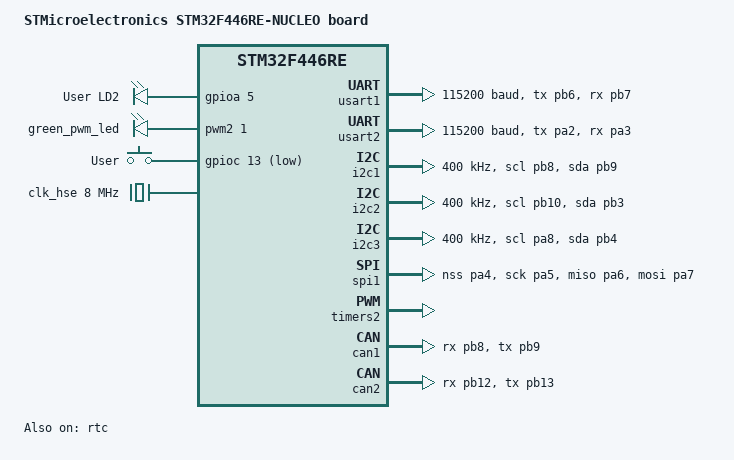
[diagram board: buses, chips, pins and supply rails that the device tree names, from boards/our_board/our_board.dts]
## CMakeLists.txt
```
cmake_minimum_required(VERSION 3.20.0)

list(APPEND BOARD_ROOT ${CMAKE_CURRENT_SOURCE_DIR})     #Added by gopi, for using the custom board (our_board).   
find_package(Zephyr REQUIRED)

project(my_zephyr_app)

target_sources(app PRIVATE src/main.cpp)


add_subdirectory(boards/my_own_board)       #to add the board_init to the app
```

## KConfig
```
config BLINK_SLEEP_TIME_MS
    int "Led Prompt"
    default 1000
    range 100 5000
    help
        help This is to change the Delay of the LED in the Kconfig
        It will be useful for the operation

source "Kconfig.zephyr"
```

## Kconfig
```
menuconfig LED_SUBSYSTEM
    bool "LED Subsystem"
    default y
    help
      Enable the LED subsystem.

if LED_SUBSYSTEM

choice LED_BLINK_SLEEP_TIME
    prompt "LED blink sleep time"
    default LED_BLINK_1S

config LED_BLINK_250MS
    bool "250ms"

config LED_BLINK_500MS
    bool "500ms"

config LED_BLINK_1S
    bool "1s"

config LED_BLINK_2S
    bool "2s"

endchoice

config LED_BLINK_SLEEP_TIME_MS
    int
    default 250 if LED_BLINK_250MS
    default 500 if LED_BLINK_500MS
    default 1000 if LED_BLINK_1S
    default 2000 if LED_BLINK_2S

menuconfig LED_ADVANCED
    bool "Advanced LED settings"
    default n

if LED_ADVANCED

config LED_BRIGHTNESS
    int "LED brightness (0-100)"
    default 100
    range 0 100

config LED_FADE_DURATION
    int "LED fade duration (ms)"
    default 500
    range 0 5000

menu "Expert settings"

visible if LED_ADVANCED

config LED_DEBUG
    bool "Enable LED debugging"

config LED_CUSTOM_PATTERN
    bool "Custom blink pattern"

endmenu

endif

endif

#for lecture 4 task 1
config APP_HEARTBEAT_PERIOD_MS
    int "Heartbeat LED period (ms)"
    default 500
    range 100 2000
    help
      Delay in milliseconds between LED state changes.



source "Kconfig.zephyr"
```

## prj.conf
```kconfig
CONFIG_GPIO=y
CONFIG_LOG=y
#CONFIG_BLINK_SLEEP_TIME_MS=1000 #we can also enter the value, or can be entered in the command while build, or we can also change in the menuconfig UI.

#CONFIG_BLINK_SLEEP_250MS=y
```

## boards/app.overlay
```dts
//use the below command to build the app with the overlay file.
// west build -b nucleo_f446re -p always app -- -DEXTRA_DTC_OVERLAY_FILE="boards/app.overlay"
//then use --> west build -t menuconfig
//then use --> west build --runner openocd
/{
    aliases {
        app-led = &green_led_2;
    };
};


//west build -b our_board -p always app -- -DEXTRA_DTC_OVERLAY_FILE="boards/app.overlay"
// use the above command to use the custom board (our_board) with the app_led as an DT_ALIAS. To build it normally change the DT_ALIAS to led0.
```

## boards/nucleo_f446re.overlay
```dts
//we cannot use this because nucleo_f466re board has only one user led "led0", i.e green colour and that can only be controlled by device tree.

/{
    leds {
    
        red_led_0: led_0 {
            gpios = < &gpioa 6 GPIO_ACTIVE_LOW>; 
        };
        blue_led_1: led_1 {
            gpios = < &gpioa 7 GPIO_ACTIVE_LOW>; 
        };
    };
};
```

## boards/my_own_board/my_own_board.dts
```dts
/dts-v1/;

#include <st/f4/stm32f446Xe.dtsi>

/{
    model = "My Own Board";
	compatible = "GopiBoards,my_own_board";

    aliases {
		led0 = &green_led_2;
	};

    chosen {
		zephyr,sram = &sram0;
		zephyr,flash = &flash0;
	};
    
    leds: leds {
		compatible = "gpio-leds";

		green_led_2: led_2 {
			gpios = <&gpioa 5 GPIO_ACTIVE_HIGH>;
			label = "User LD2";
		};
	};
};

&clk_lsi {
	status = "okay";
};

&clk_hse {
	hse-bypass;
	clock-frequency = <DT_FREQ_M(8)>; /* STLink 8MHz clock */
	status = "okay";
};

&pll {
	div-m = <8>;
	mul-n = <384>;
	div-p = <4>;
	div-q = <8>;
	clocks = <&clk_hse>;
	status = "okay";
};

&rcc {
	clocks = <&pll>;
	clock-frequency = <DT_FREQ_M(96)>;
	ahb-prescaler = <1>;
	apb1-prescaler = <2>;
	apb2-prescaler = <1>;
};

&flash0 {
	partitions {
		compatible = "fixed-partitions";
		#address-cells = <1>;
		#size-cells = <1>;

		boot_partition: partition@0 {
			label = "mcuboot";
			reg = <0x00000000 DT_SIZE_K(64)>;
			read-only;
		};

		/*
		 * The flash starting at 0x00010000 and ending at
		 * 0x0001ffff (sectors 16-31) is reserved for use
		 * by the application.
		 */
		storage_partition: partition@10000 {
			label = "storage";
			reg = <0x00010000 DT_SIZE_K(64)>;
		};

		slot0_partition: partition@20000 {
			label = "image-0";
			reg = <0x00020000 DT_SIZE_K(128)>;
		};

		slot1_partition: partition@40000 {
			label = "image-1";
			reg = <0x00040000 DT_SIZE_K(128)>;
		};

		scratch_partition: partition@60000 {
			label = "image-scratch";
			reg = <0x00060000 DT_SIZE_K(128)>;
		};
	};
};
```

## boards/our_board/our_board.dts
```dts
/*
 * Copyright (c) 2018 Philémon Jaermann
 *
 * SPDX-License-Identifier: Apache-2.0
 */

/dts-v1/;
#include <st/f4/stm32f446Xe.dtsi>
#include <st/f4/stm32f446r(c-e)tx-pinctrl.dtsi>
#include "arduino_r3_connector.dtsi"
#include "st_morpho_connector.dtsi"
#include <zephyr/dt-bindings/input/input-event-codes.h>

/ {
	model = "STMicroelectronics STM32F446RE-NUCLEO board";
	compatible = "st,stm32f446re-nucleo";

	//Alias: Gives a Devicetree node a convenient name for application use.	//added by gopi
	//Chosen: Selects a Devicetree node for a specific system purpose, such as the console UART.

	chosen {
		zephyr,console = &usart2;
		zephyr,shell-uart = &usart2;
		zephyr,sram = &sram0;
		zephyr,flash = &flash0;
		zephyr,canbus = &can2;
	};

	leds: leds {
		compatible = "gpio-leds";

		green_led_2: led_2 {
			gpios = <&gpioa 5 GPIO_ACTIVE_HIGH>;
			label = "User LD2";
		};
	};

	pwmleds {
		compatible = "pwm-leds";

		green_pwm_led: green_pwm_led {
			pwms = <&pwm2 1 PWM_MSEC(20) PWM_POLARITY_NORMAL>;
		};
	};

	gpio_keys {
		compatible = "gpio-keys";

		user_button: button {
			label = "User";
			gpios = <&gpioc 13 GPIO_ACTIVE_LOW>;
			zephyr,code = <INPUT_KEY_0>;
		};
	};

	aliases {
		led0 = &green_led_2;
		pwm-led0 = &green_pwm_led;
		sw0 = &user_button;
	};
};

&clk_lsi {
	status = "okay";
};

&clk_hse {
	hse-bypass;
	clock-frequency = <DT_FREQ_M(8)>; /* STLink 8MHz clock */
	status = "okay";
};

&pll {
	div-m = <8>;
	mul-n = <384>;
	div-p = <4>;
	div-q = <8>;
	clocks = <&clk_hse>;
	status = "okay";
};

&rcc {
	clocks = <&pll>;
	clock-frequency = <DT_FREQ_M(96)>;
	ahb-prescaler = <1>;
	apb1-prescaler = <2>;
	apb2-prescaler = <1>;
};

&usart1 {
	pinctrl-0 = <&usart1_tx_pb6 &usart1_rx_pb7>;
	pinctrl-names = "default";
	current-speed = <115200>;
	status = "okay";
};

&usart2 {
	pinctrl-0 = <&usart2_tx_pa2 &usart2_rx_pa3>;
	pinctrl-names = "default";
	current-speed = <115200>;
	status = "okay";
};

&i2c1 {
	pinctrl-0 = <&i2c1_scl_pb8 &i2c1_sda_pb9>;
	pinctrl-names = "default";
	status = "okay";
	clock-frequency = <I2C_BITRATE_FAST>;
};

&i2c2 {
	pinctrl-0 = <&i2c2_scl_pb10 &i2c2_sda_pb3>;
	pinctrl-names = "default";
	status = "okay";
	clock-frequency = <I2C_BITRATE_FAST>;
};

&i2c3 {
	pinctrl-0 = <&i2c3_scl_pa8 &i2c3_sda_pb4>;
	pinctrl-names = "default";
	status = "okay";
	clock-frequency = <I2C_BITRATE_FAST>;
};

&spi1 {
	pinctrl-0 = <&spi1_nss_pa4 &spi1_sck_pa5
		     &spi1_miso_pa6 &spi1_mosi_pa7>;
	pinctrl-names = "default";
	status = "okay";
};

&timers2 {
	status = "okay";

	pwm2: pwm {
		status = "okay";
		pinctrl-0 = <&tim2_ch1_pa5>;
		pinctrl-names = "default";
	};
};

&rtc {
	clocks = <&rcc STM32_CLOCK_BUS_APB1 0x10000000>,
		 <&rcc STM32_SRC_LSI RTC_SEL(2)>;
	status = "okay";
};

&backup_sram {
	status = "okay";
};

&can1 {
	/* CAUTION: PB8 and PB9 may conflict with same pins of I2C1 */
	pinctrl-0 = <&can1_rx_pb8 &can1_tx_pb9>;
	pinctrl-names = "default";
	status = "okay";
};

&can2 {
	pinctrl-0 = <&can2_rx_pb12 &can2_tx_pb13>;
	pinctrl-names = "default";
	status = "okay";
};

&flash0 {
	partitions {
		compatible = "fixed-partitions";
		#address-cells = <1>;
		#size-cells = <1>;

		boot_partition: partition@0 {
			label = "mcuboot";
			reg = <0x00000000 DT_SIZE_K(64)>;
			read-only;
		};

		/*
		 * The flash starting at 0x00010000 and ending at
		 * 0x0001ffff (sectors 16-31) is reserved for use
		 * by the application.
		 */
		storage_partition: partition@10000 {
			label = "storage";
			reg = <0x00010000 DT_SIZE_K(64)>;
		};

		slot0_partition: partition@20000 {
			label = "image-0";
			reg = <0x00020000 DT_SIZE_K(128)>;
		};

		slot1_partition: partition@40000 {
			label = "image-1";
			reg = <0x00040000 DT_SIZE_K(128)>;
		};

		scratch_partition: partition@60000 {
			label = "image-scratch";
			reg = <0x00060000 DT_SIZE_K(128)>;
		};
	};
};
```

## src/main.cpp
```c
#include <zephyr/drivers/gpio.h>
#include <zephyr/kernel.h>
#include <zephyr/logging/log.h>

//#define SLEEP_TIME_MS 1000 //This variable is replaced by the kconfig.

/* The devicetree node identifier for the "led0" alias. */
//#define LED_NODE DT_ALIAS(led0)   //This is the default alias for the user led "led0" in this board.
//#define LED_NODE DT_NODELABEL(red_led_0) //changing the node label to red_led_0 with the help of  devicetree but in this board there is only one user led "led0".

//#define LED_NODE DT_PATH(leds, ;led_1)  PATH : /leds/led_1  //changing the node label to blue_led_1 with the help of devicetree but in this board there is only one user led "led0".

//#define LED_NODE DT_ALIAS(app_led)  //This is added in the devicetree overlay (app.overlay) file to change the alias to app_led with the help of devicetree.

#define LED_NODE DT_ALIAS(led0) 

static const struct gpio_dt_spec led = GPIO_DT_SPEC_GET(LED_NODE, gpios);

LOG_MODULE_REGISTER(main, LOG_LEVEL_INF);

int main(void)
{
    bool led_state = true;

    if (!gpio_is_ready_dt(&led)) return 0;

    if (gpio_pin_configure_dt(&led, GPIO_OUTPUT_ACTIVE) < 0) return 0;

    //LOG_INF("Hello Guys, This project is developed by Gopi");
    LOG_INF("Hello World! Application started on custom board.");
    //LOG_INF("Board Initialized");

    while (1) {
        if (gpio_pin_toggle_dt(&led) < 0) return 0;

        led_state = !led_state;
        LOG_INF("LED state: %s", led_state ? "ON" : "OFF");
        //k_msleep(SLEEP_TIME_MS); //kconfig variable is added.
        //k_msleep(CONFIG_LED_BLINK_SLEEP_TIME_MS); //New kconfig variable is added for the lecture 4, for the led sleep duration.
        k_msleep(CONFIG_APP_HEARTBEAT_PERIOD_MS);
    }
    return 0;
}
```
